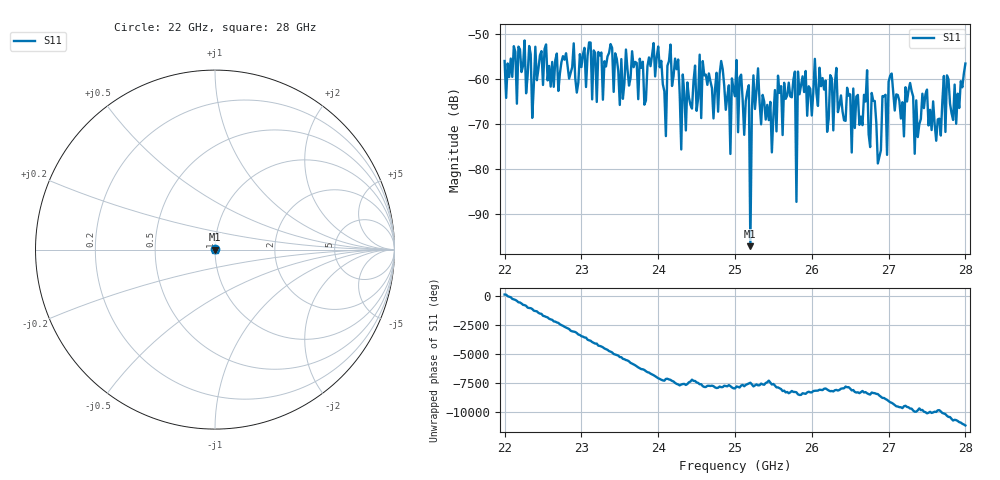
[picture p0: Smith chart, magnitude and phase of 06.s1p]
#  HZ  S  RI  R  50.00
! Rohde & Schwarz ZVA40 4Ports - Version 3.90 - 1145.1110k42 SN: 100403
! Date: 2023-10-04 09:36:46
! Measurement: S12
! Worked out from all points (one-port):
!   301 points, 22 GHz to 28 GHz, reference 50 ohm
!   lowest |S11| = -97.0 dB at 25.2 GHz (marker M1), VSWR 1.00, Z = 50 + j0.00117 ohm
!   |S11| at or under -10 dB: start of sweep to end of sweep
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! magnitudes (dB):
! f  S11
! 22 GHz  -56.0
! 22.76 GHz  -55.0
! 23.5 GHz  -65.8
! 23.94 GHz  -52.1
! 24.1 GHz  -72.7
! 24.16 GHz  -52.4
! 24.26 GHz  -55.7
! 24.3 GHz  -75.6
! 24.32 GHz  -59.0
! 24.54 GHz  -54.6
! 24.56 GHz  -68.7
! 24.92 GHz  -61.4
! 24.94 GHz  -76.6
! 25 GHz  -63.9
! 25.18 GHz  -61.4
! 25.2 GHz  -97.0
! 25.24 GHz  -59.2
! 25.48 GHz  -76.3
! 25.76 GHz  -60.2
! 25.8 GHz  -87.2
! 25.82 GHz  -58.4
! 26.5 GHz  -63.4
! 26.52 GHz  -76.3
! 26.72 GHz  -58.1
! 26.86 GHz  -78.7
! 27.26 GHz  -62.5
! 27.34 GHz  -76.6
! 28 GHz  -56.6
